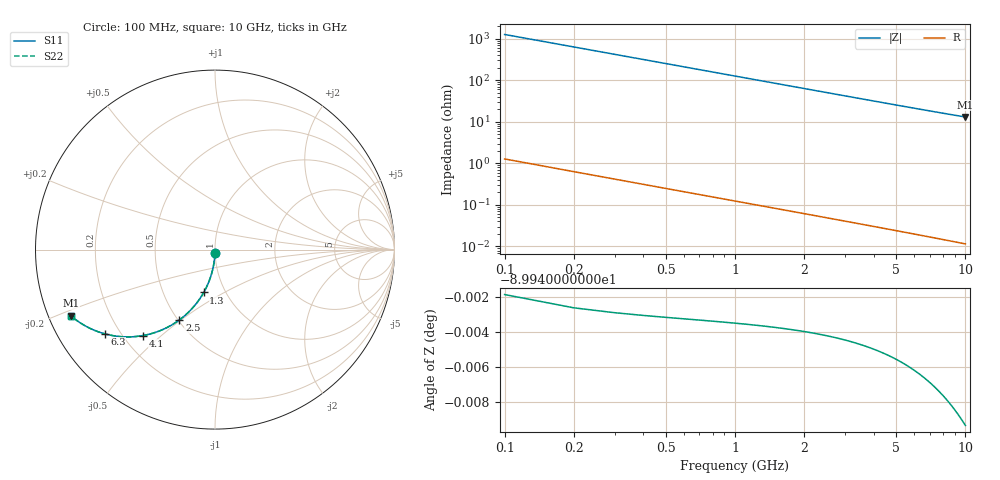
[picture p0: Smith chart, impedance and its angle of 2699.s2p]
# Hz S RI R 50.00
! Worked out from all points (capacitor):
!   100 points, 100 MHz to 10 GHz, reference 50 ohm
!   read as one part in shunt: C = 1.26 pF near 100 MHz
!   lowest |Z| = 13 ohm at 10 GHz (marker M1)
!   S11 on the Smith chart (normalised r, x): 100 MHz: 1.00, -0.04; 1.3 GHz: 0.79, -0.40; 2.5 GHz: 0.51, -0.49; 4.1 GHz: 0.28, -0.44; 6.3 GHz: 0.14, -0.33; 10 GHz: 0.06, -0.22
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1e8  -0.000369 -0.0196  0.9995 -0.0201  0.9995 -0.0201  -0.000369 -0.0196
2e8  -0.00157 -0.0392  0.9983 -0.0402  0.9983 -0.0402  -0.00157 -0.0392
3e8  -0.00355 -0.0586  0.9964 -0.0602  0.9964 -0.0602  -0.00355 -0.0586
4e8  -0.00631 -0.0779  0.9936 -0.08  0.9936 -0.08  -0.00631 -0.0779
5e8  -0.00982 -0.0971  0.9901 -0.0997  0.9901 -0.0997  -0.00982 -0.0971
6e8  -0.0141 -0.116  0.9858 -0.1191  0.9858 -0.1191  -0.0141 -0.116
8e8  -0.0248 -0.153  0.9751 -0.1571  0.9751 -0.1571  -0.0248 -0.153
1e9  -0.0381 -0.1886  0.9618 -0.1937  0.9618 -0.1937  -0.0381 -0.1886
1.3e9  -0.0628 -0.2388  0.9371 -0.2455  0.9371 -0.2455  -0.0628 -0.2388
1.5e9  -0.0819 -0.2699  0.918 -0.2777  0.918 -0.2777  -0.0819 -0.2699
1.8e9  -0.1138 -0.3125  0.886 -0.3219  0.886 -0.3219  -0.1138 -0.3125
2.1e9  -0.1488 -0.35  0.851 -0.361  0.851 -0.361  -0.1488 -0.35
2.5e9  -0.1987 -0.3921  0.8011 -0.4051  0.8011 -0.4051  -0.1987 -0.3921
2.9e9  -0.2504 -0.4252  0.7494 -0.4404  0.7494 -0.4404  -0.2504 -0.4252
3.4e9  -0.3149 -0.4551  0.6849 -0.473  0.6849 -0.473  -0.3149 -0.4551
4.1e9  -0.4011 -0.4788  0.5986 -0.5005  0.5986 -0.5005  -0.4011 -0.4788
5.1e9  -0.5096 -0.4858  0.4899 -0.513  0.4899 -0.513  -0.5096 -0.4858
6.3e9  -0.6143 -0.4693  0.385 -0.5031  0.385 -0.5031  -0.6143 -0.4693
6.7e9  -0.6434 -0.4603  0.3558 -0.4964  0.3558 -0.4964  -0.6434 -0.4603
7.5e9  -0.694 -0.4398  0.305 -0.4804  0.305 -0.4804  -0.694 -0.4398
8.4e9  -0.7407 -0.4145  0.2581 -0.4603  0.2581 -0.4603  -0.7407 -0.4145
1e10  -0.8031 -0.3689  0.1952 -0.4241  0.1952 -0.4241  -0.8031 -0.3689
